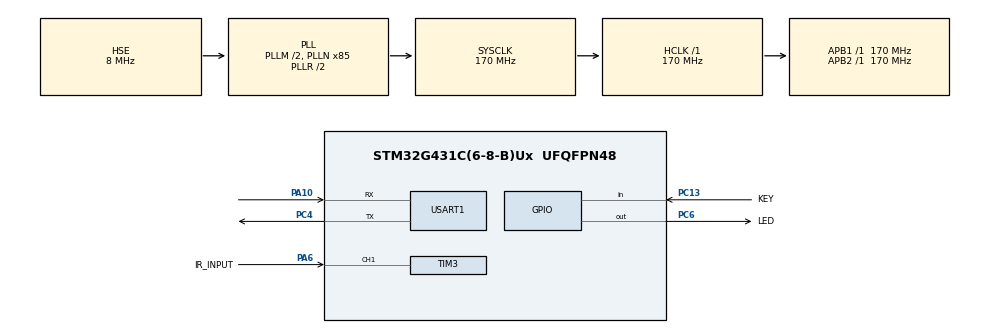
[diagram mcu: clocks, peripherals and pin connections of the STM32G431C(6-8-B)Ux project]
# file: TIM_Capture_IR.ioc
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Dma.Request0=TIM3_CH1
Dma.TIM3_CH1.0.Direction=DMA_PERIPH_TO_MEMORY
Dma.TIM3_CH1.0.EventEnable=DISABLE
Dma.TIM3_CH1.0.Instance=DMA1_Channel1
Dma.TIM3_CH1.0.MemDataAlignment=DMA_MDATAALIGN_WORD
Dma.TIM3_CH1.0.MemInc=DMA_MINC_ENABLE
Dma.TIM3_CH1.0.Mode=DMA_NORMAL
Dma.TIM3_CH1.0.PeriphDataAlignment=DMA_PDATAALIGN_WORD
Dma.TIM3_CH1.0.PeriphInc=DMA_PINC_DISABLE
Dma.TIM3_CH1.0.Polarity=HAL_DMAMUX_REQ_GEN_RISING
Dma.TIM3_CH1.0.Priority=DMA_PRIORITY_LOW
Dma.TIM3_CH1.0.RequestNumber=1
Dma.TIM3_CH1.0.SignalID=NONE
Dma.TIM3_CH1.0.SyncEnable=DISABLE
Dma.TIM3_CH1.0.SyncPolarity=HAL_DMAMUX_SYNC_NO_EVENT
Dma.TIM3_CH1.0.SyncRequestNumber=1
Dma.TIM3_CH1.0.SyncSignalID=NONE
Mcu.Family=STM32G4
Mcu.Name=STM32G431C(6-8-B)Ux
Mcu.Package=UFQFPN48
NVIC.DMA1_Channel1_IRQn=true\:0\:0\:false\:false\:true\:false\:true\:true
NVIC.PriorityGroup=NVIC_PRIORITYGROUP_4
PA10.Mode=Asynchronous
PA10.Signal=USART1_RX
PA13.Mode=Trace_Asynchronous_SW
PA13.Signal=SYS_JTMS-SWDIO
PA14.Mode=Trace_Asynchronous_SW
PA14.Signal=SYS_JTCK-SWCLK
PA6.GPIO_Label=IR_INPUT
PA6.GPIO_PuPd=GPIO_PULLUP
PA6.Signal=S_TIM3_CH1
PB3.Mode=Trace_Asynchronous_SW
PB3.Signal=SYS_JTDO-SWO
PC13.GPIO_Label=KEY
PC13.GPIO_PuPd=GPIO_PULLDOWN
PC13.Signal=GPIO_Input
PC4.Mode=Asynchronous
PC4.Signal=USART1_TX
PC6.GPIO_Label=LED
PC6.GPIO_ModeDefaultOutputPP=GPIO_MODE_OUTPUT_PP
PC6.GPIO_Speed=GPIO_SPEED_FREQ_LOW
PC6.PinState=GPIO_PIN_RESET
PC6.Signal=GPIO_Output
PF0-OSC_IN.Mode=HSE-External-Oscillator
PF0-OSC_IN.Signal=RCC_OSC_IN
PF1-OSC_OUT.Mode=HSE-External-Oscillator
PF1-OSC_OUT.Signal=RCC_OSC_OUT
ProjectManager.HeapSize=0x200
ProjectManager.StackSize=0x400
ProjectManager.TargetToolchain=STM32CubeIDE
RCC.ADC12Freq_Value=170000000
RCC.AHBFreq_Value=170000000
RCC.APB1Freq_Value=170000000
RCC.APB1TimFreq_Value=170000000
RCC.APB2Freq_Value=170000000
RCC.APB2TimFreq_Value=170000000
RCC.CortexFreq_Value=170000000
RCC.EXTERNAL_CLOCK_VALUE=12288000
RCC.HCLKFreq_Value=170000000
RCC.HSE_VALUE=8000000
RCC.HSI48_VALUE=48000000
RCC.HSI_VALUE=16000000
RCC.LSE_VALUE=32768
RCC.PLLM=RCC_PLLM_DIV2
RCC.PLLN=85
RCC.PLLSourceVirtual=RCC_PLLSOURCE_HSE
RCC.SYSCLKFreq_VALUE=170000000
RCC.SYSCLKSource=RCC_SYSCLKSOURCE_PLLCLK
RCC.USBFreq_Value=170000000
RCC.VCOOutputFreq_Value=340000000
SH.S_TIM3_CH1.0=TIM3_CH1,PWM_Input_1
TIM3.Prescaler=170-1
USART1.VirtualMode-Asynchronous=VM_ASYNC
VP_SYS_VS_DBSignals.Mode=DisableDeadBatterySignals
VP_TIM3_VS_ClockSourceINT.Mode=Internal
board=custom

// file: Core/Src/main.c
/* USER CODE BEGIN Header */
/**
  ******************************************************************************
  * @file           : main.c
  * @brief          : Main program body
  ******************************************************************************
  * @attention
  *
  * Copyright (c) 2025 STMicroelectronics.
  * All rights reserved.
  *
  * This software is licensed under terms that can be found in the LICENSE file
  * in the root directory of this software component.
  * If no LICENSE file comes with this software, it is provided AS-IS.
  *
  ******************************************************************************
  */
/* USER CODE END Header */
#include "main.h"

/* USER CODE BEGIN Includes */
#include "console.h"
/* USER CODE END Includes */

TIM_HandleTypeDef htim3;
DMA_HandleTypeDef hdma_tim3_ch1;

UART_HandleTypeDef huart1;

/* USER CODE BEGIN PV */

uint16_t ir_signal[32];
uint16_t signal;
uint8_t n = 0;
uint16_t value = 0;
uint16_t code;

///////////////////////
uint32_t IR_Sig[33];

//////////////////////

/* USER CODE END PV */

void SystemClock_Config(void);
static void MX_GPIO_Init(void);
static void MX_DMA_Init(void);
static void MX_TIM3_Init(void);
static void MX_USART1_UART_Init(void);

/* USER CODE BEGIN 0 */

void DMA1_Channel1_IRQ (DMA_HandleTypeDef *hdma) {
	uint32_t flag_it = DMA1->ISR;
	uint32_t source_it = hdma->Instance->CCR;
	uint8_t i, start_i = 0;
	uint32_t max_Value = 0;
	uint8_t n = 0;
	uint32_t code = 0;

	if ((0U != (flag_it & (DMA_FLAG_TC1 << (hdma->ChannelIndex & 0x1CU)))) && (0U != (source_it & DMA_IT_TC)))
	  {
	    //  if ((hdma->Instance->CCR & DMA_CCR_CIRC) == 0U)
	    //  {

		 	 HAL_TIM_IC_Stop_DMA(&htim3, TIM_CHANNEL_1);
		 	 HAL_TIM_IC_Stop(&htim3, TIM_CHANNEL_2);

	    	  for (i=0; i<33; i++) {
	    		  //printf("i:%d = %ld\r\n", i, IR_Sig[i]);
	    		  if (IR_Sig[i] > max_Value) {
	    			  max_Value = IR_Sig[i];
	    			  start_i = i;
	    		  }
	    	  }

	    	  //printf("i: %d\r\n", start_i);

	    	  i = start_i+1;
	    	  n = 0;
	    	  while (n < 32) {
	    		  if (i > 32) {
	    			  i = 0;
	    		  }
	    		  code = code << 1;

	    		  if (IR_Sig[i] > 2000) {
	    			  code = code | 1;
	    		  }

	    		  i++;
	    		  n++;
	    	  }

	    	  printf("Code: %ld\r\n", code);

	    	  HAL_TIM_IC_Start_DMA(&htim3, TIM_CHANNEL_1, IR_Sig, 33);
	    	  HAL_TIM_IC_Start(&htim3, TIM_CHANNEL_2);
	    	  //TIM3->CNT = 0;

	    //  }
	  }
}

/* USER CODE END 0 */

int main(void)
{

  /* MCU Configuration--------------------------------------------------------*/

  /* Reset of all peripherals, Initializes the Flash interface and the Systick. */
  HAL_Init();

  /* Configure the system clock */
  SystemClock_Config();

  /* Initialize all configured peripherals */
  MX_GPIO_Init();
  MX_DMA_Init();
  MX_TIM3_Init();
  MX_USART1_UART_Init();
  /* USER CODE BEGIN 2 */

  HAL_TIM_IC_Start_DMA(&htim3, TIM_CHANNEL_1, IR_Sig, 33);
  HAL_TIM_IC_Start(&htim3, TIM_CHANNEL_2);

  /* USER CODE END 2 */

  /* Infinite loop */
  while (1)
  {

  }
}

void SystemClock_Config(void)
{
  RCC_OscInitTypeDef RCC_OscInitStruct = {0};
  RCC_ClkInitTypeDef RCC_ClkInitStruct = {0};

  /** Configure the main internal regulator output voltage
  */
  HAL_PWREx_ControlVoltageScaling(PWR_REGULATOR_VOLTAGE_SCALE1_BOOST);

  /** Initializes the RCC Oscillators according to the specified parameters
  * in the RCC_OscInitTypeDef structure.
  */
  RCC_OscInitStruct.OscillatorType = RCC_OSCILLATORTYPE_HSE;
  RCC_OscInitStruct.HSEState = RCC_HSE_ON;
  RCC_OscInitStruct.PLL.PLLState = RCC_PLL_ON;
  RCC_OscInitStruct.PLL.PLLSource = RCC_PLLSOURCE_HSE;
  RCC_OscInitStruct.PLL.PLLM = RCC_PLLM_DIV2;
  RCC_OscInitStruct.PLL.PLLN = 85;
  RCC_OscInitStruct.PLL.PLLP = RCC_PLLP_DIV2;
  RCC_OscInitStruct.PLL.PLLQ = RCC_PLLQ_DIV2;
  RCC_OscInitStruct.PLL.PLLR = RCC_PLLR_DIV2;
  if (HAL_RCC_OscConfig(&RCC_OscInitStruct) != HAL_OK)
  {
    Error_Handler();
  }

  /** Initializes the CPU, AHB and APB buses clocks
  */
  RCC_ClkInitStruct.ClockType = RCC_CLOCKTYPE_HCLK|RCC_CLOCKTYPE_SYSCLK
                              |RCC_CLOCKTYPE_PCLK1|RCC_CLOCKTYPE_PCLK2;
  RCC_ClkInitStruct.SYSCLKSource = RCC_SYSCLKSOURCE_PLLCLK;
  RCC_ClkInitStruct.AHBCLKDivider = RCC_SYSCLK_DIV1;
  RCC_ClkInitStruct.APB1CLKDivider = RCC_HCLK_DIV1;
  RCC_ClkInitStruct.APB2CLKDivider = RCC_HCLK_DIV1;

  if (HAL_RCC_ClockConfig(&RCC_ClkInitStruct, FLASH_LATENCY_4) != HAL_OK)
  {
    Error_Handler();
  }
}

static void MX_TIM3_Init(void)
{

  TIM_ClockConfigTypeDef sClockSourceConfig = {0};
  TIM_SlaveConfigTypeDef sSlaveConfig = {0};
  TIM_IC_InitTypeDef sConfigIC = {0};
  TIM_MasterConfigTypeDef sMasterConfig = {0};

  htim3.Instance = TIM3;
  htim3.Init.Prescaler = 170-1;
  htim3.Init.CounterMode = TIM_COUNTERMODE_UP;
  htim3.Init.Period = 65535;
  htim3.Init.ClockDivision = TIM_CLOCKDIVISION_DIV1;
  htim3.Init.AutoReloadPreload = TIM_AUTORELOAD_PRELOAD_DISABLE;
  if (HAL_TIM_Base_Init(&htim3) != HAL_OK)
  {
    Error_Handler();
  }
  sClockSourceConfig.ClockSource = TIM_CLOCKSOURCE_INTERNAL;
  if (HAL_TIM_ConfigClockSource(&htim3, &sClockSourceConfig) != HAL_OK)
  {
    Error_Handler();
  }
  if (HAL_TIM_IC_Init(&htim3) != HAL_OK)
  {
    Error_Handler();
  }
  sSlaveConfig.SlaveMode = TIM_SLAVEMODE_RESET;
  sSlaveConfig.InputTrigger = TIM_TS_TI1FP1;
  sSlaveConfig.TriggerPolarity = TIM_INPUTCHANNELPOLARITY_RISING;
  sSlaveConfig.TriggerPrescaler = TIM_ICPSC_DIV1;
  sSlaveConfig.TriggerFilter = 0;
  if (HAL_TIM_SlaveConfigSynchro(&htim3, &sSlaveConfig) != HAL_OK)
  {
    Error_Handler();
  }
  sConfigIC.ICPolarity = TIM_INPUTCHANNELPOLARITY_RISING;
  sConfigIC.ICSelection = TIM_ICSELECTION_DIRECTTI;
  sConfigIC.ICPrescaler = TIM_ICPSC_DIV1;
  sConfigIC.ICFilter = 0;
  if (HAL_TIM_IC_ConfigChannel(&htim3, &sConfigIC, TIM_CHANNEL_1) != HAL_OK)
  {
    Error_Handler();
  }
  sConfigIC.ICPolarity = TIM_INPUTCHANNELPOLARITY_FALLING;
  sConfigIC.ICSelection = TIM_ICSELECTION_INDIRECTTI;
  if (HAL_TIM_IC_ConfigChannel(&htim3, &sConfigIC, TIM_CHANNEL_2) != HAL_OK)
  {
    Error_Handler();
  }
  sMasterConfig.MasterOutputTrigger = TIM_TRGO_RESET;
  sMasterConfig.MasterSlaveMode = TIM_MASTERSLAVEMODE_DISABLE;
  if (HAL_TIMEx_MasterConfigSynchronization(&htim3, &sMasterConfig) != HAL_OK)
  {
    Error_Handler();
  }

}

static void MX_USART1_UART_Init(void)
{

  huart1.Instance = USART1;
  huart1.Init.BaudRate = 115200;
  huart1.Init.WordLength = UART_WORDLENGTH_8B;
  huart1.Init.StopBits = UART_STOPBITS_1;
  huart1.Init.Parity = UART_PARITY_NONE;
  huart1.Init.Mode = UART_MODE_TX_RX;
  huart1.Init.HwFlowCtl = UART_HWCONTROL_NONE;
  huart1.Init.OverSampling = UART_OVERSAMPLING_16;
  huart1.Init.OneBitSampling = UART_ONE_BIT_SAMPLE_DISABLE;
  huart1.Init.ClockPrescaler = UART_PRESCALER_DIV1;
  huart1.AdvancedInit.AdvFeatureInit = UART_ADVFEATURE_NO_INIT;
  if (HAL_UART_Init(&huart1) != HAL_OK)
  {
    Error_Handler();
  }
  if (HAL_UARTEx_SetTxFifoThreshold(&huart1, UART_TXFIFO_THRESHOLD_1_8) != HAL_OK)
  {
    Error_Handler();
  }
  if (HAL_UARTEx_SetRxFifoThreshold(&huart1, UART_RXFIFO_THRESHOLD_1_8) != HAL_OK)
  {
    Error_Handler();
  }
  if (HAL_UARTEx_DisableFifoMode(&huart1) != HAL_OK)
  {
    Error_Handler();
  }

}

static void MX_DMA_Init(void)
{

  /* DMA controller clock enable */
  __HAL_RCC_DMAMUX1_CLK_ENABLE();
  __HAL_RCC_DMA1_CLK_ENABLE();

  /* DMA interrupt init */
  /* DMA1_Channel1_IRQn interrupt configuration */
  HAL_NVIC_SetPriority(DMA1_Channel1_IRQn, 0, 0);
  HAL_NVIC_EnableIRQ(DMA1_Channel1_IRQn);

}

static void MX_GPIO_Init(void)
{
  GPIO_InitTypeDef GPIO_InitStruct = {0};

  /* GPIO Ports Clock Enable */
  __HAL_RCC_GPIOC_CLK_ENABLE();
  __HAL_RCC_GPIOF_CLK_ENABLE();
  __HAL_RCC_GPIOA_CLK_ENABLE();
  __HAL_RCC_GPIOB_CLK_ENABLE();

  /*Configure GPIO pin Output Level */
  HAL_GPIO_WritePin(LED_GPIO_Port, LED_Pin, GPIO_PIN_RESET);

  /*Configure GPIO pin : KEY_Pin */
  GPIO_InitStruct.Pin = KEY_Pin;
  GPIO_InitStruct.Mode = GPIO_MODE_INPUT;
  GPIO_InitStruct.Pull = GPIO_PULLDOWN;
  HAL_GPIO_Init(KEY_GPIO_Port, &GPIO_InitStruct);

  /*Configure GPIO pin : LED_Pin */
  GPIO_InitStruct.Pin = LED_Pin;
  GPIO_InitStruct.Mode = GPIO_MODE_OUTPUT_PP;
  GPIO_InitStruct.Pull = GPIO_NOPULL;
  GPIO_InitStruct.Speed = GPIO_SPEED_FREQ_LOW;
  HAL_GPIO_Init(LED_GPIO_Port, &GPIO_InitStruct);

}

void Error_Handler(void)
{
  __disable_irq();
  while (1)
  {
  }
}
